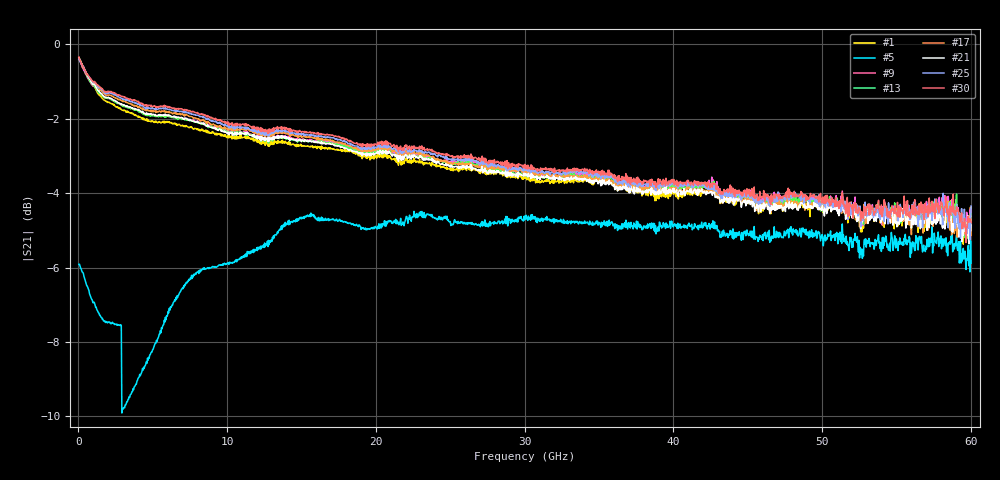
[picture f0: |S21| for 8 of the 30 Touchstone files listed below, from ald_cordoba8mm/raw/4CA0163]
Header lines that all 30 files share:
! File created by 'SoftPlot +Plus+ Measurement Management Software'
! SoftPlot +Plus+ Measurement Management Software
! Start 40.000000 MHz  Stop 60.000000 GHz  Points 1601
# MHZ S RI R 50
! S-Parameter data, F S11 S21 S12 S22
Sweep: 40 MHz to 60 GHz
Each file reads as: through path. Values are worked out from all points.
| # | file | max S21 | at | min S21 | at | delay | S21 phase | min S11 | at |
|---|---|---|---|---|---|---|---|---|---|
| 1 | 4CA0163_ALD_00.s2p | -0.39 dB | 40 MHz | -5.4 dB | 59.48 GHz | 60.3 ps | 60 deg at 30.02 GHz | -41.2 dB | 59.21 GHz |
| 2 | 4CA0163_ALD_01.s2p | -0.37 dB | 40 MHz | -5.2 dB | 59.36 GHz | 61 ps | 54 deg at 30.02 GHz | -37.6 dB | 58.09 GHz |
| 3 | 4CA0163_ALD_02.s2p | -0.37 dB | 40 MHz | -5.3 dB | 59.66 GHz | 61.3 ps | 50 deg at 30.02 GHz | -48.2 dB | 58.01 GHz |
| 4 | 4CA0163_ALD_03.s2p | -0.38 dB | 40 MHz | -5.5 dB | 59.85 GHz | 61.2 ps | 51 deg at 30.02 GHz | -35.4 dB | 58.76 GHz |
| 5 | 4CA0163_ALD_04.s2p | -4.49 dB | 22.56 GHz | -9.9 dB | 2.926 GHz | 62.1 ps | 61 deg at 30.02 GHz | -25.9 dB | 56.81 GHz |
| 6 | 4CA0163_ALD_05.s2p | -0.35 dB | 40 MHz | -5.4 dB | 59.21 GHz | 61.1 ps | 52 deg at 30.02 GHz | -43.7 dB | 58.58 GHz |
| 7 | 4CA0163_ALD_06.s2p | -0.37 dB | 40 MHz | -5.1 dB | 59.66 GHz | 60.8 ps | 55 deg at 30.02 GHz | -43.3 dB | 58.73 GHz |
| 8 | 4CA0163_ALD_07.s2p | -0.36 dB | 40 MHz | -5.3 dB | 59.48 GHz | 61 ps | 53 deg at 30.02 GHz | -36.6 dB | 58.46 GHz |
| 9 | 4CA0163_ALD_08.s2p | -0.41 dB | 40 MHz | -5.1 dB | 59.66 GHz | 60.6 ps | 58 deg at 30.02 GHz | -42.9 dB | 58.39 GHz |
| 10 | 4CA0163_ALD_09.s2p | -0.37 dB | 40 MHz | -5.2 dB | 59.66 GHz | 61.1 ps | 52 deg at 30.02 GHz | -49.1 dB | 58.43 GHz |
| 11 | 4CA0163_ALD_10.s2p | -0.35 dB | 40 MHz | -5.2 dB | 59.4 GHz | 61.1 ps | 52 deg at 30.02 GHz | -39.5 dB | 58.54 GHz |
| 12 | 4CA0163_ALD_11.s2p | -0.37 dB | 40 MHz | -5.2 dB | 59.66 GHz | 61.1 ps | 52 deg at 30.02 GHz | -55.6 dB | 58.61 GHz |
| 13 | 4CA0163_ALD_12.s2p | -0.36 dB | 40 MHz | -5.2 dB | 59.66 GHz | 61 ps | 53 deg at 30.02 GHz | -38.7 dB | 58.28 GHz |
| 14 | 4CA0163_ALD_13.s2p | -0.37 dB | 40 MHz | -5.6 dB | 59.29 GHz | 60.9 ps | 54 deg at 30.02 GHz | -43.2 dB | 58.91 GHz |
| 15 | 4CA0163_ALD_14.s2p | -0.37 dB | 40 MHz | -5.1 dB | 59.85 GHz | 60.8 ps | 55 deg at 30.02 GHz | -50.5 dB | 58.24 GHz |
| 16 | 4CA0163_noALD_00.s2p | -0.38 dB | 40 MHz | -5.3 dB | 59.63 GHz | 59.2 ps | 73 deg at 30.02 GHz | -32.2 dB | 8.509 GHz |
| 17 | 4CA0163_noALD_01.s2p | -0.35 dB | 40 MHz | -5.2 dB | 59.93 GHz | 59.8 ps | 66 deg at 30.02 GHz | -31.4 dB | 58.95 GHz |
| 18 | 4CA0163_noALD_02.s2p | -0.36 dB | 40 MHz | -5.5 dB | 59.66 GHz | 60.2 ps | 61 deg at 30.02 GHz | -32.7 dB | 8.097 GHz |
| 19 | 4CA0163_noALD_03.s2p | -0.36 dB | 40 MHz | -5.6 dB | 59.63 GHz | 60.1 ps | 62 deg at 30.02 GHz | -31.8 dB | 8.172 GHz |
| 20 | 4CA0163_noALD_04.s2p | -0.38 dB | 40 MHz | -5.6 dB | 59.21 GHz | 60.3 ps | 61 deg at 30.02 GHz | -31.7 dB | 8.322 GHz |
| 21 | 4CA0163_noALD_05.s2p | -0.36 dB | 40 MHz | -5.4 dB | 59.85 GHz | 60.1 ps | 63 deg at 30.02 GHz | -31.1 dB | 59.29 GHz |
| 22 | 4CA0163_noALD_06.s2p | -0.38 dB | 40 MHz | -5.1 dB | 59.74 GHz | 59.7 ps | 67 deg at 30.02 GHz | -33.2 dB | 8.172 GHz |
| 23 | 4CA0163_noALD_07.s2p | -0.35 dB | 40 MHz | -5.4 dB | 59.66 GHz | 60.1 ps | 63 deg at 30.02 GHz | -29.3 dB | 8.097 GHz |
| 24 | 4CA0163_noALD_08.s2p | -0.37 dB | 40 MHz | -5.2 dB | 59.51 GHz | 59.7 ps | 68 deg at 30.02 GHz | -32.9 dB | 8.322 GHz |
| 25 | 4CA0163_noALD_09.s2p | -0.38 dB | 40 MHz | -5.3 dB | 59.93 GHz | 60.1 ps | 63 deg at 30.02 GHz | -36.0 dB | 58.5 GHz |
| 26 | 4CA0163_noALD_10.s2p | -0.36 dB | 40 MHz | -5.2 dB | 59.66 GHz | 60.1 ps | 63 deg at 30.02 GHz | -30.4 dB | 8.322 GHz |
| 27 | 4CA0163_noALD_11.s2p | -0.37 dB | 40 MHz | -5.3 dB | 59.85 GHz | 60 ps | 64 deg at 30.02 GHz | -29.4 dB | 8.397 GHz |
| 28 | 4CA0163_noALD_12.s2p | -0.36 dB | 40 MHz | -5.3 dB | 59.66 GHz | 60 ps | 64 deg at 30.02 GHz | -31.6 dB | 58.28 GHz |
| 29 | 4CA0163_noALD_13.s2p | -0.37 dB | 40 MHz | -5.3 dB | 59.4 GHz | 59.8 ps | 66 deg at 30.02 GHz | -35.5 dB | 58.28 GHz |
| 30 | 4CA0163_noALD_14.s2p | -0.35 dB | 40 MHz | -5.3 dB | 59.66 GHz | 59.8 ps | 66 deg at 30.02 GHz | -32.2 dB | 8.397 GHz |
